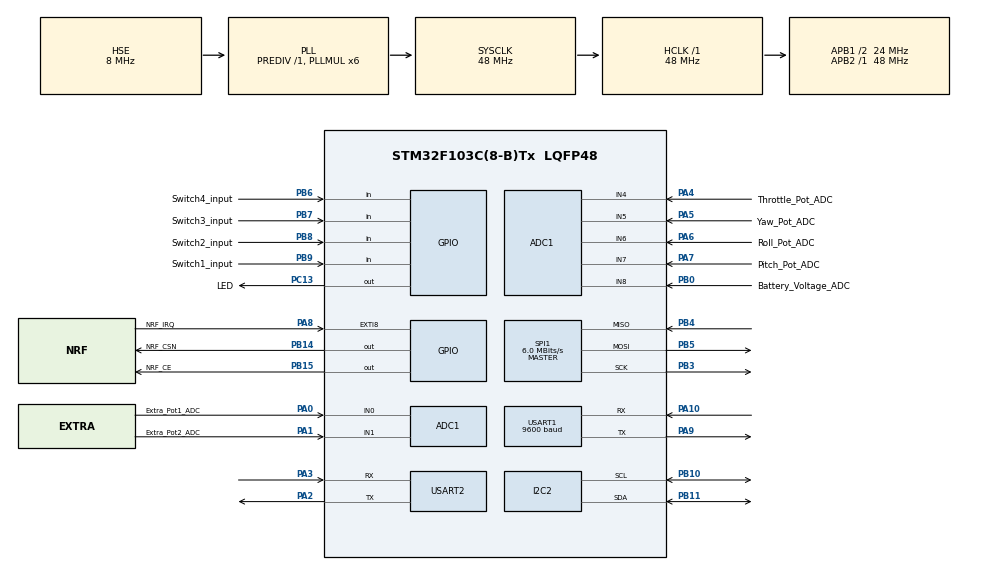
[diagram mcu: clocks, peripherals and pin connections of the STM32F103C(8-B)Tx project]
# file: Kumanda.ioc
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ADC1.Channel-0\#ChannelRegularConversion=ADC_CHANNEL_0
ADC1.Channel-1\#ChannelRegularConversion=ADC_CHANNEL_1
ADC1.Channel-2\#ChannelRegularConversion=ADC_CHANNEL_4
ADC1.Channel-3\#ChannelRegularConversion=ADC_CHANNEL_5
ADC1.Channel-4\#ChannelRegularConversion=ADC_CHANNEL_6
ADC1.Channel-5\#ChannelRegularConversion=ADC_CHANNEL_7
ADC1.Channel-6\#ChannelRegularConversion=ADC_CHANNEL_8
ADC1.ContinuousConvMode=ENABLE
ADC1.NbrOfConversion=7
ADC1.NbrOfConversionFlag=1
ADC1.Rank-0\#ChannelRegularConversion=1
ADC1.Rank-1\#ChannelRegularConversion=2
ADC1.Rank-2\#ChannelRegularConversion=3
ADC1.Rank-3\#ChannelRegularConversion=4
ADC1.Rank-4\#ChannelRegularConversion=5
ADC1.Rank-5\#ChannelRegularConversion=6
ADC1.Rank-6\#ChannelRegularConversion=7
ADC1.SamplingTime-0\#ChannelRegularConversion=ADC_SAMPLETIME_239CYCLES_5
ADC1.SamplingTime-1\#ChannelRegularConversion=ADC_SAMPLETIME_239CYCLES_5
ADC1.SamplingTime-2\#ChannelRegularConversion=ADC_SAMPLETIME_239CYCLES_5
ADC1.SamplingTime-3\#ChannelRegularConversion=ADC_SAMPLETIME_239CYCLES_5
ADC1.SamplingTime-4\#ChannelRegularConversion=ADC_SAMPLETIME_239CYCLES_5
ADC1.SamplingTime-5\#ChannelRegularConversion=ADC_SAMPLETIME_239CYCLES_5
ADC1.SamplingTime-6\#ChannelRegularConversion=ADC_SAMPLETIME_239CYCLES_5
ADC1.master=1
Dma.ADC1.0.Direction=DMA_PERIPH_TO_MEMORY
Dma.ADC1.0.Instance=DMA1_Channel1
Dma.ADC1.0.MemDataAlignment=DMA_MDATAALIGN_WORD
Dma.ADC1.0.MemInc=DMA_MINC_ENABLE
Dma.ADC1.0.Mode=DMA_CIRCULAR
Dma.ADC1.0.PeriphDataAlignment=DMA_PDATAALIGN_WORD
Dma.ADC1.0.PeriphInc=DMA_PINC_DISABLE
Dma.ADC1.0.Priority=DMA_PRIORITY_MEDIUM
Dma.Request0=ADC1
Dma.Request1=USART1_RX
Dma.Request2=USART1_TX
Dma.USART1_RX.1.Direction=DMA_PERIPH_TO_MEMORY
Dma.USART1_RX.1.Instance=DMA1_Channel5
Dma.USART1_RX.1.MemDataAlignment=DMA_MDATAALIGN_BYTE
Dma.USART1_RX.1.MemInc=DMA_MINC_ENABLE
Dma.USART1_RX.1.Mode=DMA_CIRCULAR
Dma.USART1_RX.1.PeriphDataAlignment=DMA_PDATAALIGN_BYTE
Dma.USART1_RX.1.PeriphInc=DMA_PINC_DISABLE
Dma.USART1_RX.1.Priority=DMA_PRIORITY_LOW
Dma.USART1_TX.2.Direction=DMA_MEMORY_TO_PERIPH
Dma.USART1_TX.2.Instance=DMA1_Channel4
Dma.USART1_TX.2.MemDataAlignment=DMA_MDATAALIGN_BYTE
Dma.USART1_TX.2.MemInc=DMA_MINC_ENABLE
Dma.USART1_TX.2.Mode=DMA_CIRCULAR
Dma.USART1_TX.2.PeriphDataAlignment=DMA_PDATAALIGN_BYTE
Dma.USART1_TX.2.PeriphInc=DMA_PINC_DISABLE
Dma.USART1_TX.2.Priority=DMA_PRIORITY_LOW
Mcu.Family=STM32F1
Mcu.Name=STM32F103C(8-B)Tx
Mcu.Package=LQFP48
NVIC.DMA1_Channel1_IRQn=true\:0\:0\:false\:false\:true\:false\:true
NVIC.DMA1_Channel4_IRQn=true\:0\:0\:false\:false\:true\:false\:true
NVIC.DMA1_Channel5_IRQn=true\:0\:0\:false\:false\:true\:false\:true
NVIC.PriorityGroup=NVIC_PRIORITYGROUP_4
NVIC.USART1_IRQn=true\:0\:0\:false\:false\:true\:true\:true
PA0-WKUP.GPIO_Label=Extra_Pot1_ADC
PA0-WKUP.Signal=ADCx_IN0
PA1.GPIO_Label=Extra_Pot2_ADC
PA1.Signal=ADCx_IN1
PA10.Mode=Asynchronous
PA10.Signal=USART1_RX
PA13.Mode=Serial_Wire
PA13.Signal=SYS_JTMS-SWDIO
PA14.Mode=Serial_Wire
PA14.Signal=SYS_JTCK-SWCLK
PA2.Mode=Asynchronous
PA2.Signal=USART2_TX
PA3.Mode=Asynchronous
PA3.Signal=USART2_RX
PA4.GPIO_Label=Throttle_Pot_ADC
PA4.Signal=ADCx_IN4
PA5.GPIO_Label=Yaw_Pot_ADC
PA5.Signal=ADCx_IN5
PA6.GPIO_Label=Roll_Pot_ADC
PA6.Signal=ADCx_IN6
PA7.GPIO_Label=Pitch_Pot_ADC
PA7.Signal=ADCx_IN7
PA8.GPIO_Label=NRF_IRQ
PA8.Signal=GPXTI8
PA9.Mode=Asynchronous
PA9.Signal=USART1_TX
PB0.GPIO_Label=Battery_Voltage_ADC
PB0.Signal=ADCx_IN8
PB10.Mode=I2C
PB10.Signal=I2C2_SCL
PB11.Mode=I2C
PB11.Signal=I2C2_SDA
PB14.GPIO_Label=NRF_CSN
PB14.Signal=GPIO_Output
PB15.GPIO_Label=NRF_CE
PB15.Signal=GPIO_Output
PB3.Mode=Full_Duplex_Master
PB3.Signal=SPI1_SCK
PB4.Mode=Full_Duplex_Master
PB4.Signal=SPI1_MISO
PB5.Mode=Full_Duplex_Master
PB5.Signal=SPI1_MOSI
PB6.GPIO_Label=Switch4_input
PB6.Signal=GPIO_Input
PB7.GPIO_Label=Switch3_input
PB7.Signal=GPIO_Input
PB8.GPIO_Label=Switch2_input
PB8.Signal=GPIO_Input
PB9.GPIO_Label=Switch1_input
PB9.Signal=GPIO_Input
PC13-TAMPER-RTC.GPIO_Label=LED
PC13-TAMPER-RTC.Signal=GPIO_Output
PD0-OSC_IN.Mode=HSE-External-Oscillator
PD0-OSC_IN.Signal=RCC_OSC_IN
PD1-OSC_OUT.Mode=HSE-External-Oscillator
PD1-OSC_OUT.Signal=RCC_OSC_OUT
ProjectManager.HeapSize=0x200
ProjectManager.StackSize=0x400
ProjectManager.TargetToolchain=STM32CubeIDE
RCC.ADCPresc=RCC_ADCPCLK2_DIV4
RCC.AHBFreq_Value=48000000
RCC.APB1CLKDivider=RCC_HCLK_DIV2
RCC.APB1Freq_Value=24000000
RCC.APB1TimFreq_Value=48000000
RCC.APB2Freq_Value=48000000
RCC.APB2TimFreq_Value=48000000
RCC.HCLKFreq_Value=48000000
RCC.PLLMUL=RCC_PLL_MUL6
RCC.PLLSourceVirtual=RCC_PLLSOURCE_HSE
RCC.SYSCLKFreq_VALUE=48000000
RCC.SYSCLKSource=RCC_SYSCLKSOURCE_PLLCLK
RCC.USBFreq_Value=48000000
SH.ADCx_IN0.0=ADC1_IN0,IN0
SH.ADCx_IN1.0=ADC1_IN1,IN1
SH.ADCx_IN4.0=ADC1_IN4,IN4
SH.ADCx_IN5.0=ADC1_IN5,IN5
SH.ADCx_IN6.0=ADC1_IN6,IN6
SH.ADCx_IN7.0=ADC1_IN7,IN7
SH.ADCx_IN8.0=ADC1_IN8,IN8
SPI1.BaudRatePrescaler=SPI_BAUDRATEPRESCALER_8
SPI1.CalculateBaudRate=6.0 MBits/s
SPI1.Direction=SPI_DIRECTION_2LINES
SPI1.Mode=SPI_MODE_MASTER
SPI1.VirtualType=VM_MASTER
USART1.BaudRate=9600
USART1.VirtualMode=VM_ASYNC
USART2.VirtualMode=VM_ASYNC
board=custom

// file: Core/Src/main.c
/* USER CODE BEGIN Header */
/**
  ******************************************************************************
  * @file           : main.c
  * @brief          : Main program body
  ******************************************************************************
  * @attention
  *
  * Copyright (c) 2022 STMicroelectronics.
  * All rights reserved.
  *
  * This software is licensed under terms that can be found in the LICENSE file
  * in the root directory of this software component.
  * If no LICENSE file comes with this software, it is provided AS-IS.
  *
  ******************************************************************************
  */
/* USER CODE END Header */
#include "main.h"

/* USER CODE BEGIN Includes */

#include "Nextion.h"
#include "string.h"
#include "Uav_Global.h"
#include "AESK_Data_Pack_lib.h"
#include "AESK_NRF24.h"
#include "Kumanda.h"
#include "FLASH_PAGE_F1.h"

/* USER CODE END Includes */

ADC_HandleTypeDef hadc1;
DMA_HandleTypeDef hdma_adc1;

I2C_HandleTypeDef hi2c2;

SPI_HandleTypeDef hspi1;

UART_HandleTypeDef huart1;
UART_HandleTypeDef huart2;
DMA_HandleTypeDef hdma_usart1_rx;
DMA_HandleTypeDef hdma_usart1_tx;

/* USER CODE BEGIN PV */

uint8_t temp_buf_ekran[256] = { 0 };
uint16_t read_byte_ekran = 0; 		//ekrandan okunan byte sayisi
USART_Buffer Ekran_UART_Bufferi;

uint64_t thisNode = 0x11223344CC;
uint64_t node = 0x11223344BB;

/* USER CODE END PV */

void SystemClock_Config(void);
static void MX_GPIO_Init(void);
static void MX_ADC1_Init(void);
static void MX_I2C2_Init(void);
static void MX_SPI1_Init(void);
static void MX_USART1_UART_Init(void);
static void MX_DMA_Init(void);
static void MX_USART2_UART_Init(void);
/* USER CODE BEGIN PFP */

void HAL_ADC_ConvCpltCallback(ADC_HandleTypeDef* hadc)
{
	if(hadc->Instance == ADC1)								//check which adc made interrupt
	{

			Kumanda_Data.data[0] = Kumanda_Data.adcBuffer[0];
			Kumanda_Data.data[1] = Kumanda_Data.adcBuffer[1];
			Kumanda_Data.data[2] = Kumanda_Data.adcBuffer[2];
			Kumanda_Data.data[3] = Kumanda_Data.adcBuffer[3];
			Kumanda_Data.data[4] = Kumanda_Data.adcBuffer[4];
			Kumanda_Data.data[5] = Kumanda_Data.adcBuffer[5];
			Kumanda_Data.data[6] = Kumanda_Data.adcBuffer[6];
			memset(Kumanda_Data.adcBuffer,0,sizeof(Kumanda_Data.adcBuffer));

	}

}

void onReceive(uint8_t *pack, uint16_t len);

/* USER CODE END PFP */

int main(void)
{

  /* MCU Configuration--------------------------------------------------------*/

  /* Reset of all peripherals, Initializes the Flash interface and the Systick. */

	HAL_Init();

  /* Configure the system clock */
  SystemClock_Config();

  /* Initialize all configured peripherals */
  MX_GPIO_Init();
  MX_DMA_Init();
  MX_ADC1_Init();
  MX_I2C2_Init();
  MX_SPI1_Init();
  MX_USART1_UART_Init();
  MX_USART2_UART_Init();
  /* USER CODE BEGIN 2 */

  Uart_DMA_Receive_Start(&huart1, &Ekran_UART_Bufferi);

  HAL_ADC_Start_DMA(&hadc1, Kumanda_Data.adcBuffer, 7);			//start ADC conversation.

  AESK_NRF24_DATA_Init(48, node, &onReceive);
  AESK_NRF24_Init(&hspi1, NRF_CSN_GPIO_Port, NRF_CSN_Pin, NRF_CE_Pin);

  Flash_Read_Data(0x0801FC00, Kumanda_Data.Ofsetler, 4);

  /* USER CODE END 2 */

  /* Infinite loop */
  while (1)
  {

    /* USER CODE BEGIN 3 */

	  if(Time.Task.Hz_50 == 1)
	  {
		  Time.Task.Hz_50 = 0;

		  read_byte_ekran = read_DMA_Buffer(&huart1, &Ekran_UART_Bufferi, temp_buf_ekran);
		  if(read_byte_ekran > 0){
			  Ekran_Control(temp_buf_ekran, read_byte_ekran);
		  }

		  Map_AllData();
//		  SendToNextion_AllData(&huart1);  //Ekrana veri gönderme fonksiyonu UART DMA'ya geçirilecek sistem çok yavaş.

		  uint16_t index = 2;

		  AESK_UINT16toUINT8_LE(&Kumanda_Data.scaled_data[0], aesk_nrf24_data.TxBuffer, &index);
		  AESK_UINT16toUINT8_LE(&Kumanda_Data.scaled_data[1], aesk_nrf24_data.TxBuffer, &index);
		  AESK_UINT16toUINT8_LE(&Kumanda_Data.scaled_data[2], aesk_nrf24_data.TxBuffer, &index);
		  AESK_UINT16toUINT8_LE(&Kumanda_Data.scaled_data[3], aesk_nrf24_data.TxBuffer, &index);
		  AESK_UINT16toUINT8_LE(&Kumanda_Data.scaled_data[4], aesk_nrf24_data.TxBuffer, &index);
		  AESK_UINT16toUINT8_LE(&Kumanda_Data.scaled_data[5], aesk_nrf24_data.TxBuffer, &index);
		  AESK_UINT16toUINT8_LE(&Kumanda_Data.scaled_data[6], aesk_nrf24_data.TxBuffer, &index);
		  aesk_nrf24_data.TxBuffer[++index] = Kumanda_Data.swtch[0];
		  aesk_nrf24_data.TxBuffer[++index] = Kumanda_Data.swtch[1];
		  aesk_nrf24_data.TxBuffer[++index] = Kumanda_Data.swtch[2];
		  aesk_nrf24_data.TxBuffer[++index] = Kumanda_Data.swtch[3];

		  aesk_nrf24_data.TxBuffer[0] = 'R';
		  aesk_nrf24_data.TxBuffer[1] = index;

		  AESK_NRF24_WritePack(aesk_nrf24_data.TxBuffer, index, node);
	  }

	  if(Time.Task.Hz_5 == 1)
	  	  {
	  		  Time.Task.Hz_5 = 0;

			  Kumanda_Data.swtch[0] = HAL_GPIO_ReadPin(GPIOB, GPIO_PIN_9);
			  Kumanda_Data.swtch[1] = HAL_GPIO_ReadPin(GPIOB, GPIO_PIN_8);
			  Kumanda_Data.swtch[2] = HAL_GPIO_ReadPin(GPIOB, GPIO_PIN_7);
			  Kumanda_Data.swtch[3] = HAL_GPIO_ReadPin(GPIOB, GPIO_PIN_6);

			  Flash_Write_Data(0x0801FC00, Kumanda_Data.Ofsetler, 4);
	  	  }

  }
  /* USER CODE END 3 */
}

void SystemClock_Config(void)
{
  RCC_OscInitTypeDef RCC_OscInitStruct = {0};
  RCC_ClkInitTypeDef RCC_ClkInitStruct = {0};
  RCC_PeriphCLKInitTypeDef PeriphClkInit = {0};

  /** Initializes the RCC Oscillators according to the specified parameters
  * in the RCC_OscInitTypeDef structure.
  */
  RCC_OscInitStruct.OscillatorType = RCC_OSCILLATORTYPE_HSE;
  RCC_OscInitStruct.HSEState = RCC_HSE_ON;
  RCC_OscInitStruct.HSEPredivValue = RCC_HSE_PREDIV_DIV1;
  RCC_OscInitStruct.HSIState = RCC_HSI_ON;
  RCC_OscInitStruct.PLL.PLLState = RCC_PLL_ON;
  RCC_OscInitStruct.PLL.PLLSource = RCC_PLLSOURCE_HSE;
  RCC_OscInitStruct.PLL.PLLMUL = RCC_PLL_MUL6;
  if (HAL_RCC_OscConfig(&RCC_OscInitStruct) != HAL_OK)
  {
    Error_Handler();
  }
  /** Initializes the CPU, AHB and APB buses clocks
  */
  RCC_ClkInitStruct.ClockType = RCC_CLOCKTYPE_HCLK|RCC_CLOCKTYPE_SYSCLK
                              |RCC_CLOCKTYPE_PCLK1|RCC_CLOCKTYPE_PCLK2;
  RCC_ClkInitStruct.SYSCLKSource = RCC_SYSCLKSOURCE_PLLCLK;
  RCC_ClkInitStruct.AHBCLKDivider = RCC_SYSCLK_DIV1;
  RCC_ClkInitStruct.APB1CLKDivider = RCC_HCLK_DIV2;
  RCC_ClkInitStruct.APB2CLKDivider = RCC_HCLK_DIV1;

  if (HAL_RCC_ClockConfig(&RCC_ClkInitStruct, FLASH_LATENCY_1) != HAL_OK)
  {
    Error_Handler();
  }
  PeriphClkInit.PeriphClockSelection = RCC_PERIPHCLK_ADC;
  PeriphClkInit.AdcClockSelection = RCC_ADCPCLK2_DIV4;
  if (HAL_RCCEx_PeriphCLKConfig(&PeriphClkInit) != HAL_OK)
  {
    Error_Handler();
  }
}

static void MX_ADC1_Init(void)
{

  ADC_ChannelConfTypeDef sConfig = {0};

  /** Common config
  */
  hadc1.Instance = ADC1;
  hadc1.Init.ScanConvMode = ADC_SCAN_ENABLE;
  hadc1.Init.ContinuousConvMode = ENABLE;
  hadc1.Init.DiscontinuousConvMode = DISABLE;
  hadc1.Init.ExternalTrigConv = ADC_SOFTWARE_START;
  hadc1.Init.DataAlign = ADC_DATAALIGN_RIGHT;
  hadc1.Init.NbrOfConversion = 7;
  if (HAL_ADC_Init(&hadc1) != HAL_OK)
  {
    Error_Handler();
  }
  /** Configure Regular Channel
  */
  sConfig.Channel = ADC_CHANNEL_0;
  sConfig.Rank = ADC_REGULAR_RANK_1;
  sConfig.SamplingTime = ADC_SAMPLETIME_239CYCLES_5;
  if (HAL_ADC_ConfigChannel(&hadc1, &sConfig) != HAL_OK)
  {
    Error_Handler();
  }
  /** Configure Regular Channel
  */
  sConfig.Channel = ADC_CHANNEL_1;
  sConfig.Rank = ADC_REGULAR_RANK_2;
  if (HAL_ADC_ConfigChannel(&hadc1, &sConfig) != HAL_OK)
  {
    Error_Handler();
  }
  /** Configure Regular Channel
  */
  sConfig.Channel = ADC_CHANNEL_4;
  sConfig.Rank = ADC_REGULAR_RANK_3;
  if (HAL_ADC_ConfigChannel(&hadc1, &sConfig) != HAL_OK)
  {
    Error_Handler();
  }
  /** Configure Regular Channel
  */
  sConfig.Channel = ADC_CHANNEL_5;
  sConfig.Rank = ADC_REGULAR_RANK_4;
  if (HAL_ADC_ConfigChannel(&hadc1, &sConfig) != HAL_OK)
  {
    Error_Handler();
  }
  /** Configure Regular Channel
  */
  sConfig.Channel = ADC_CHANNEL_6;
  sConfig.Rank = ADC_REGULAR_RANK_5;
  if (HAL_ADC_ConfigChannel(&hadc1, &sConfig) != HAL_OK)
  {
    Error_Handler();
  }
  /** Configure Regular Channel
  */
  sConfig.Channel = ADC_CHANNEL_7;
  sConfig.Rank = ADC_REGULAR_RANK_6;
  if (HAL_ADC_ConfigChannel(&hadc1, &sConfig) != HAL_OK)
  {
    Error_Handler();
  }
  /** Configure Regular Channel
  */
  sConfig.Channel = ADC_CHANNEL_8;
  sConfig.Rank = ADC_REGULAR_RANK_7;
  if (HAL_ADC_ConfigChannel(&hadc1, &sConfig) != HAL_OK)
  {
    Error_Handler();
  }

}

static void MX_I2C2_Init(void)
{

  hi2c2.Instance = I2C2;
  hi2c2.Init.ClockSpeed = 100000;
  hi2c2.Init.DutyCycle = I2C_DUTYCYCLE_2;
  hi2c2.Init.OwnAddress1 = 0;
  hi2c2.Init.AddressingMode = I2C_ADDRESSINGMODE_7BIT;
  hi2c2.Init.DualAddressMode = I2C_DUALADDRESS_DISABLE;
  hi2c2.Init.OwnAddress2 = 0;
  hi2c2.Init.GeneralCallMode = I2C_GENERALCALL_DISABLE;
  hi2c2.Init.NoStretchMode = I2C_NOSTRETCH_DISABLE;
  if (HAL_I2C_Init(&hi2c2) != HAL_OK)
  {
    Error_Handler();
  }

}

static void MX_SPI1_Init(void)
{

  /* SPI1 parameter configuration*/
  hspi1.Instance = SPI1;
  hspi1.Init.Mode = SPI_MODE_MASTER;
  hspi1.Init.Direction = SPI_DIRECTION_2LINES;
  hspi1.Init.DataSize = SPI_DATASIZE_8BIT;
  hspi1.Init.CLKPolarity = SPI_POLARITY_LOW;
  hspi1.Init.CLKPhase = SPI_PHASE_1EDGE;
  hspi1.Init.NSS = SPI_NSS_SOFT;
  hspi1.Init.BaudRatePrescaler = SPI_BAUDRATEPRESCALER_8;
  hspi1.Init.FirstBit = SPI_FIRSTBIT_MSB;
  hspi1.Init.TIMode = SPI_TIMODE_DISABLE;
  hspi1.Init.CRCCalculation = SPI_CRCCALCULATION_DISABLE;
  hspi1.Init.CRCPolynomial = 10;
  if (HAL_SPI_Init(&hspi1) != HAL_OK)
  {
    Error_Handler();
  }

}

static void MX_USART1_UART_Init(void)
{

  huart1.Instance = USART1;
  huart1.Init.BaudRate = 9600;
  huart1.Init.WordLength = UART_WORDLENGTH_8B;
  huart1.Init.StopBits = UART_STOPBITS_1;
  huart1.Init.Parity = UART_PARITY_NONE;
  huart1.Init.Mode = UART_MODE_TX_RX;
  huart1.Init.HwFlowCtl = UART_HWCONTROL_NONE;
  huart1.Init.OverSampling = UART_OVERSAMPLING_16;
  if (HAL_UART_Init(&huart1) != HAL_OK)
  {
    Error_Handler();
  }

}

static void MX_USART2_UART_Init(void)
{

  huart2.Instance = USART2;
  huart2.Init.BaudRate = 115200;
  huart2.Init.WordLength = UART_WORDLENGTH_8B;
  huart2.Init.StopBits = UART_STOPBITS_1;
  huart2.Init.Parity = UART_PARITY_NONE;
  huart2.Init.Mode = UART_MODE_TX_RX;
  huart2.Init.HwFlowCtl = UART_HWCONTROL_NONE;
  huart2.Init.OverSampling = UART_OVERSAMPLING_16;
  if (HAL_UART_Init(&huart2) != HAL_OK)
  {
    Error_Handler();
  }

}

static void MX_DMA_Init(void)
{

  /* DMA controller clock enable */
  __HAL_RCC_DMA1_CLK_ENABLE();

  /* DMA interrupt init */
  /* DMA1_Channel1_IRQn interrupt configuration */
  HAL_NVIC_SetPriority(DMA1_Channel1_IRQn, 0, 0);
  HAL_NVIC_EnableIRQ(DMA1_Channel1_IRQn);
  /* DMA1_Channel4_IRQn interrupt configuration */
  HAL_NVIC_SetPriority(DMA1_Channel4_IRQn, 0, 0);
  HAL_NVIC_EnableIRQ(DMA1_Channel4_IRQn);
  /* DMA1_Channel5_IRQn interrupt configuration */
  HAL_NVIC_SetPriority(DMA1_Channel5_IRQn, 0, 0);
  HAL_NVIC_EnableIRQ(DMA1_Channel5_IRQn);

}

static void MX_GPIO_Init(void)
{
  GPIO_InitTypeDef GPIO_InitStruct = {0};

  /* GPIO Ports Clock Enable */
  __HAL_RCC_GPIOC_CLK_ENABLE();
  __HAL_RCC_GPIOD_CLK_ENABLE();
  __HAL_RCC_GPIOA_CLK_ENABLE();
  __HAL_RCC_GPIOB_CLK_ENABLE();

  /*Configure GPIO pin Output Level */
  HAL_GPIO_WritePin(LED_GPIO_Port, LED_Pin, GPIO_PIN_RESET);

  /*Configure GPIO pin Output Level */
  HAL_GPIO_WritePin(GPIOB, NRF_CSN_Pin|NRF_CE_Pin, GPIO_PIN_RESET);

  /*Configure GPIO pin : LED_Pin */
  GPIO_InitStruct.Pin = LED_Pin;
  GPIO_InitStruct.Mode = GPIO_MODE_OUTPUT_PP;
  GPIO_InitStruct.Pull = GPIO_NOPULL;
  GPIO_InitStruct.Speed = GPIO_SPEED_FREQ_LOW;
  HAL_GPIO_Init(LED_GPIO_Port, &GPIO_InitStruct);

  /*Configure GPIO pins : NRF_CSN_Pin NRF_CE_Pin */
  GPIO_InitStruct.Pin = NRF_CSN_Pin|NRF_CE_Pin;
  GPIO_InitStruct.Mode = GPIO_MODE_OUTPUT_PP;
  GPIO_InitStruct.Pull = GPIO_NOPULL;
  GPIO_InitStruct.Speed = GPIO_SPEED_FREQ_LOW;
  HAL_GPIO_Init(GPIOB, &GPIO_InitStruct);

  /*Configure GPIO pin : NRF_IRQ_Pin */
  GPIO_InitStruct.Pin = NRF_IRQ_Pin;
  GPIO_InitStruct.Mode = GPIO_MODE_IT_RISING;
  GPIO_InitStruct.Pull = GPIO_NOPULL;
  HAL_GPIO_Init(NRF_IRQ_GPIO_Port, &GPIO_InitStruct);

  /*Configure GPIO pins : Switch4_input_Pin Switch3_input_Pin Switch2_input_Pin Switch1_input_Pin */
  GPIO_InitStruct.Pin = Switch4_input_Pin|Switch3_input_Pin|Switch2_input_Pin|Switch1_input_Pin;
  GPIO_InitStruct.Mode = GPIO_MODE_INPUT;
  GPIO_InitStruct.Pull = GPIO_NOPULL;
  HAL_GPIO_Init(GPIOB, &GPIO_InitStruct);

}

/* USER CODE BEGIN 4 */

void onReceive(uint8_t *pack, uint16_t len)
{

}

/* USER CODE END 4 */

void Error_Handler(void)
{
  __disable_irq();
  while (1)
  {
  }
}
